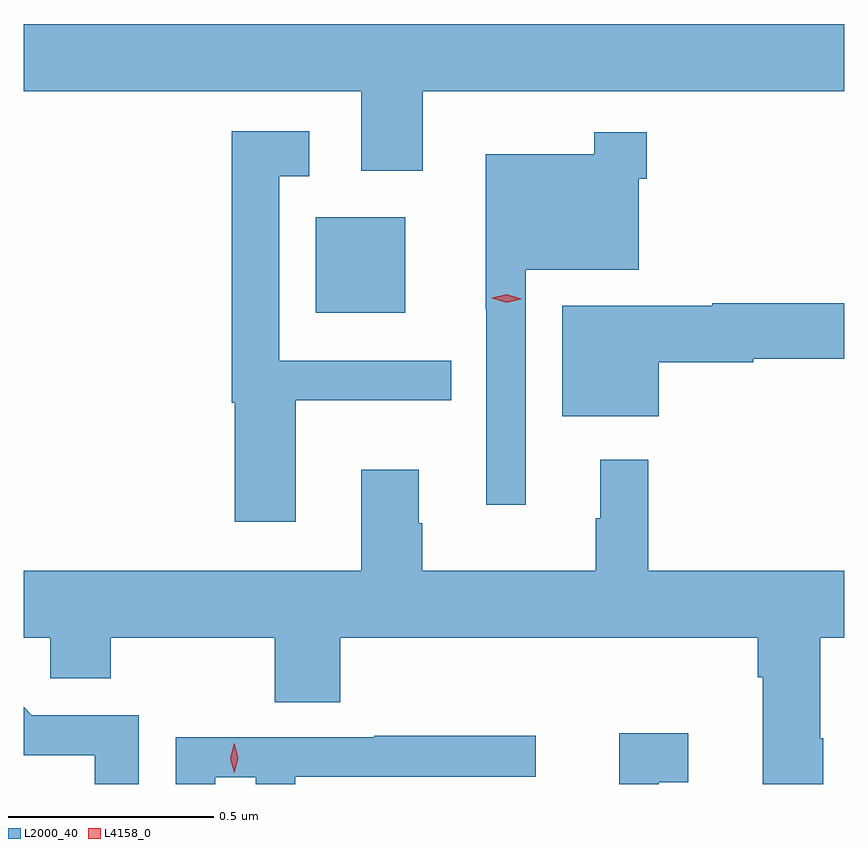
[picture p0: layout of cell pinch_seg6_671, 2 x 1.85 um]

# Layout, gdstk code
import gdstk
lib = gdstk.Library(unit=1e-6, precision=1e-09)
def R(c, l, rs):  # rectangles x0, y0, x1, y1
    for r in rs: c.add(gdstk.rectangle(r[:2], r[2:], *l))
def P(c, l, *ps):  # polygons
    for p in ps: c.add(gdstk.Polygon(p, *l))
L2000_40 = (2000, 40)
L4158_0 = (4158, 0)

pinch_seg6_671 = lib.new_cell('pinch_seg6_671')
R(pinch_seg6_671, L2000_40, [(496.766,950.792,496.984,951.025)])
P(pinch_seg6_671, L2000_40, [(497.026,951.332),(498.054,951.332),(498.054,951.496),(496.054,951.496),(496.054,951.332),(496.877,951.332),(496.877,951.138),(497.026,951.138)],
  [(496.717,950.579),(497.096,950.579),(497.096,950.676),(496.677,950.676),(496.677,951.125),(496.75,951.125),(496.75,951.235),(496.561,951.235),(496.561,950.573),(496.568,950.573),(496.568,950.283),(496.717,950.283)],
  [(497.277,950.897),(497.553,950.897),(497.553,951.119),(497.573,951.119),(497.573,951.232),(497.445,951.232),(497.445,951.178),(497.18,951.178),(497.18,950.801),(497.181,950.801),(497.181,950.325),(497.277,950.325)],
  [(497.602,950.672),(497.832,950.672),(497.832,950.68),(498.054,950.68),(498.054,950.816),(497.732,950.816),(497.732,950.809),(497.366,950.809),(497.366,950.54),(497.602,950.54)],
  [(496.054,950),(496.119,950),(496.119,949.902),(496.266,949.902),(496.266,950),(496.666,950),(496.666,949.843),(496.826,949.843),(496.826,950),(497.843,950),(497.843,949.904),(497.855,949.904),(497.855,949.644),(498.003,949.644),(498.003,949.756),(497.995,949.756),(497.995,950),(498.054,950),(498.054,950.164),(497.576,950.164),(497.576,950.434),(497.459,950.434),(497.459,950.291),(497.448,950.291),(497.448,950.164),(497.025,950.164),(497.025,950.279),(497.017,950.279),(497.017,950.41),(496.877,950.41),(496.877,950.164),(496.054,950.164)],
  [(496.335,949.812),(496.074,949.812),(496.054,949.832),(496.054,949.714),(496.227,949.714),(496.227,949.644),(496.335,949.644)],
  [(497.602,949.648),(497.674,949.648),(497.674,949.768),(497.505,949.768),(497.505,949.644),(497.602,949.644)],
  [(496.521,949.661),(496.62,949.661),(496.62,949.644),(496.716,949.644),(496.716,949.662),(497.302,949.662),(497.302,949.761),(496.909,949.761),(496.909,949.758),(496.425,949.758),(496.425,949.644),(496.521,949.644)])
P(pinch_seg6_671, L4158_0, [(497.231,950.817),(497.196,950.828),(497.195,950.829),(497.196,950.829),(497.231,950.837),(497.266,950.826),(497.267,950.826),(497.266,950.825)],
  [(496.567,949.671),(496.567,949.671),(496.557,949.707),(496.567,949.743),(496.567,949.743),(496.567,949.743),(496.577,949.707),(496.567,949.671)])

lib.write_gds('pinch_seg6_671.gds')
